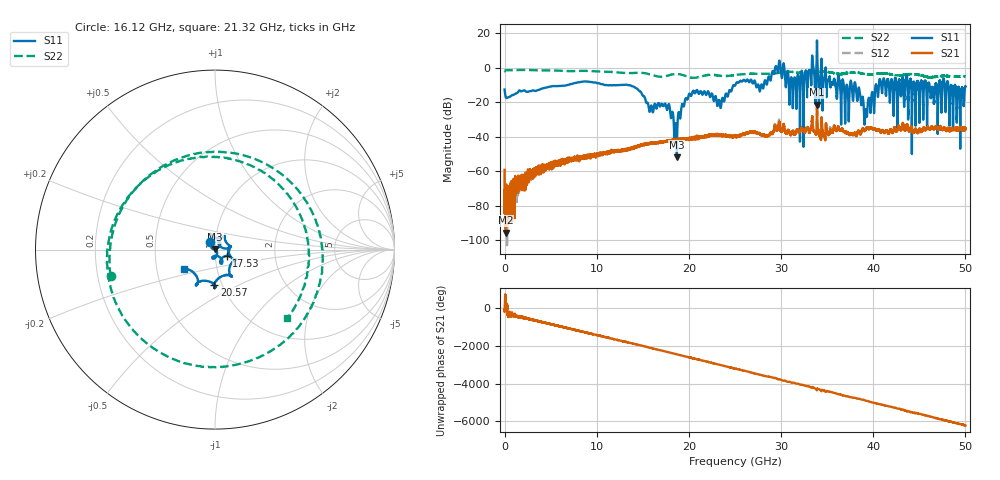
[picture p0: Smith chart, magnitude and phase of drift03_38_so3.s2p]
!Created with skrf (http://scikit-rf.org).
# Hz S RI R 50.0
!freq ReS11 ImS11 ReS21 ImS21 ReS12 ImS12 ReS22 ImS22
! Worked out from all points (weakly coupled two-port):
!   10001 points, 300 kHz to 50 GHz, reference 50 ohm
!   highest |S21| = -21.44 dB at 33.9 GHz (marker M1); lowest = -95.7 dB at 125.3 MHz (marker M2)
!   lowest |S11| = -52.0 dB at 18.7 GHz (marker M3), VSWR 1.01, Z = 50 + j0.25 ohm
!   |S11| at or under -10 dB: start of sweep to 6.945 GHz; 13.32 GHz to 25.04 GHz (11.73 GHz wide, 61.2 % of centre); 38.08 GHz to 40.26 GHz (2.186 GHz wide, 5.58 % of centre) (the widest 3 of 52)
!   |S22| runs from -5.9 to -1.3 dB; largest |S21 - S12| = 0.0076
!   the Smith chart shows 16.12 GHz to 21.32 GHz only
!   S11 on the Smith chart (normalised r, x): 16.12 GHz: 0.94, +0.08; 17.53 GHz: 1.14, -0.08; 20.57 GHz: 0.92, -0.38; 21.32 GHz: 0.69, -0.16
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300000  -0.2105 -0.0979  6.78e-05 -0.00108  0.000175 -0.000249  -0.7657 -0.1942
1.252992e8  -0.1249 0.0597  3.73e-06 1.6e-05  8.91e-05 0.000263  -0.8198 0.197
1.535291e9  0.2048 0.0434  -3.92e-05 -0.000423  -0.000213 -0.000436  0.8491 0.0778
3.160281e9  -0.2186 -0.00844  3.77e-05 0.000968  9.49e-05 0.000909  -0.8443 -0.0246
4.665272e9  0.2637 0.0616  0.000129 -0.0012  -9.66e-05 -0.00134  0.8185 0.1428
6.360262e9  -0.2999 0.000431  0.000569 0.00158  0.000555 0.00166  -0.804 -0.0427
8.33525e9  0.2837 -0.2675  -0.00221 -0.00102  -0.00224 -0.000771  0.602 -0.5358
9.575243e9  -0.3717 -0.048  0.00144 0.00254  0.00143 0.00237  -0.7857 -0.0953
1.124523e10  0.3053 0.0227  -0.00215 -0.00276  -0.00219 -0.00269  0.7577 0.0209
1.61202e10  -0.0305 0.0427  0.00625 0.00205  0.00613 0.00203  -0.5817 -0.1461
1.66702e10  0.054 0.0758  0.00478 -0.0051  0.00464 -0.00477  -0.3591 0.4186
1.753019e10  0.0662 -0.0351  -0.00631 -0.00365  -0.00611 -0.00382  0.4956 0.2859
1.869519e10  0.000141 0.0025  0.00249 0.00791  0.00232 0.00796  -0.088 -0.6492
2.056518e10  -0.00323 -0.1963  -0.00805 -0.00442  -0.00825 -0.00511  0.3675 0.3496
2.131517e10  -0.172 -0.1083  -0.00546 0.00861  -0.00528 0.00843  0.3988 -0.3829
2.500015e10  -0.2977 -0.049  0.00716 0.00677  0.00794 0.00652  -0.1821 -0.5845
3.051012e10  0.2484 -0.1047  -0.00223 0.0124  -0.00251 0.0129  0.742 -0.0585
3.213011e10  0.2049 0.3693  -0.000129 -0.0152  -0.000347 -0.0152  -0.6947 0.00649
3.33351e10  0.4637 -1.006  -0.0051 0.0255  -0.00644 0.0245  0.6128 0.3665
3.39001e10  1.671 -5.501  0.0745 0.0404  0.0702 0.035  0.676 -0.3215
4.167005e10  -0.2208 0.2817  -0.0115 -0.00454  -0.012 -0.00506  -0.6545 -0.0581
5e10  -0.1529 -0.2467  5.74e-05 -0.0172  0.000841 -0.0165  0.4672 -0.3132
